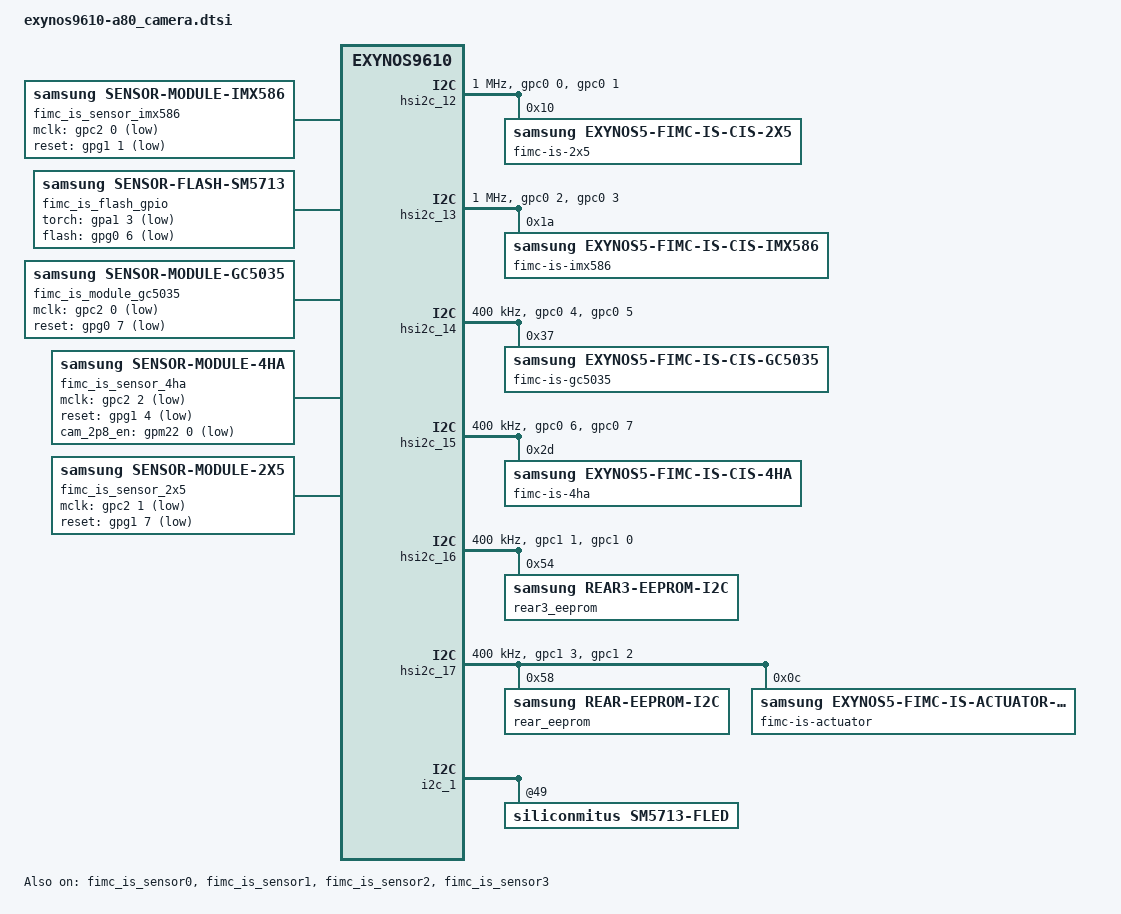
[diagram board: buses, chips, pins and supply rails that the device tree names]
/*
 * SAMSUNG EXYNOS9610 board camera device tree source
 *
 * Copyright (c) 2018 Samsung Electronics Co., Ltd.
 *		http://www.samsung.com
 *
 * This program is free software; you can redistribute it and/or modify
 * it under the terms of the GNU General Public License version 2 as
 * published by the Free Software Foundation.
 */

#include <dt-bindings/camera/fimc_is.h>

/ {
	fragment@camera {
		target-path = "/";
		__overlay__ {
			/* REAR CAMERA */
			fimc_is_sensor_imx586: fimc-fimc_is_sensor_imx586@1A {
				compatible = "samsung,sensor-module-imx586";

				pinctrl-names = "pin0", "pin1", "pin2", "release";
				pinctrl-0 = <&fimc_is_mclk0_out>;
				pinctrl-1 = <&fimc_is_mclk0_fn>;
				pinctrl-2 = < >;
				pinctrl-3 = <&fimc_is_mclk0_out>;

				id = <0>;                     /* fimc_is_sensor id */
				mclk_ch = <0>;
				sensor_i2c_ch = <1>;          /* SENSOR_CONTROL_I2C1 */
				sensor_i2c_addr = <0x1A>;     /* 1bit right shift : Read 0x34h, Write 0x35h */
				position = <0>;               /* Rear:0, Front:1, Rear_sub(Rear2):2, Rear_UW(Rear3): 4 */

				gpio_mclk = <&gpc2 0 0x1>;    /* RCAM1_RCAM3_MCLK */
				gpio_reset = <&gpg1 1 0x1>;   /* RCAM1_RST_N */

				status = "okay";

				af {
					product_name = <19>;     /* ACTUATOR_NAME_DW9808 */
					i2c_addr = <0x18>;
					i2c_ch = <5>;            /* SENSOR_CONTROL_I2C5 */
				};

				flash {
					product_name = <11>;     /* FLASH_GPIO : FLADRV_NAME_DRV_FLASH_GPIO */
				};
#if 0
				use_pdaf;                     /* when USE_AP_PDAF is enabled, use for pdaf sensor */

				internal_vc {
					vc_list = <2 VC_MIPISTAT 0 3 VC_PRIVATE 0>;
				};
#endif
			};

			fimc_is_flash_gpio: fimc-is-flash-gpio@0 {
				compatible = "samsung,sensor-flash-sm5713";
				id = <0>;
				status = "okay";

				torch-gpio = <&gpa1 3 0x1>;
				flash-gpio = <&gpg0 6 0x1>;
			};

			/* REAR Sub CAMERA */
			fimc_is_module_gc5035: fimc-is_sensor_gc5035@37 {
				compatible = "samsung,sensor-module-gc5035";

				pinctrl-names = "pin0", "pin1", "pin2", "release";
				pinctrl-0 = <>;
				pinctrl-1 = <&fimc_is_mclk0_out>;
				pinctrl-2 = <&fimc_is_mclk0_fn>;
				pinctrl-3 = <>;

				position = <2>;               /* Rear:0, Front:1, Rear_sub(Rear2):2, Rear_UW(Rear3): 4 */
				id = <2>;                     /* fimc_is_sensor id */
				mclk_ch = <0>;

				gpio_mclk = <&gpc2 0 0x1>;    /* RCAM1_RCAM2_MCLK */
				gpio_reset = <&gpg0 7 0x1>;   /* RCAM2_RST_N */
				status = "okay";
			};

			/* REAR Third CAMERA */
			fimc_is_sensor_4ha: fimc-is_sensor_4ha@6C {
				compatible = "samsung,sensor-module-4ha";

				pinctrl-names = "pin0", "pin1", "pin2", "release";
				pinctrl-0 = <>;
				pinctrl-1 = <&fimc_is_mclk2_out>;
				pinctrl-2 = <&fimc_is_mclk2_fn>;
				pinctrl-3 = <>;

				position = <4>;               /* Rear:0, Front:1, Rear_sub(Rear2):2, Rear_UW(Rear3): 4 */
				id = <3>;                     /* fimc_is_sensor id */
				mclk_ch = <2>;

				gpio_mclk = <&gpc2 2 0x1>;          /* RCAM3_MCLK */
				gpio_reset = <&gpg1 4 0x1>;         /* RCAM3_RST_N */
				gpio_cam_2p8_en = <&gpm22 0 0x1>;   /* RCAM3_AVDD_2P8 */
				status = "okay";
			};

			/* FRONT CAMERA */
			fimc_is_sensor_2x5: fimc-is_sensor_2x5@10 {
				compatible = "samsung,sensor-module-2x5";

				pinctrl-names = "pin0", "pin1", "pin2", "release";
				pinctrl-0 = <>;
				pinctrl-1 = <&fimc_is_mclk1_out>;
				pinctrl-2 = <&fimc_is_mclk1_fn>;
				pinctrl-3 = <>;

				position = <1>;               /* Rear:0, Front:1, Rear_sub(Rear2):2, Rear_UW(Rear3): 4 */
				id = <1>;                     /* fimc_is_sensor id */
				mclk_ch = <1>;
				sensor_i2c_ch = <1>;          /* SENSOR_CONTROL_I2C1 */

				gpio_mclk = <&gpc2 1 0x1>;
				gpio_reset = <&gpg1 7 0x1>;   /* FRONT_RST_N */

				status = "okay";
			};

		}; /* end of __overlay__ */
	}; /* end of fragment */
}; /* end of root */

/***** reference symbol node *****/

&fimc_is {
	vender {
		rear_sensor_id = <117>;    /* SENSOR_NAME_IMX586 */
		//front_sensor_id = <60>;    /* SENSOR_NAME_S5K2X5 */
		//rear2_sensor_id = <210>;   /* SENSOR_NAME_GC5035  */
		//rear3_sensor_id = <39>;    /* SENSOR_NAME_S5K4HA */
		need_i2c_config;
		skip_cal_loading;
		//use_module_check;
		//check_sensor_vendor;
		max_supported_camera = <1>; //<5>;
		supported_cameraId = <0>; //<0 1 20 50 52>;
		/* REAR, FRONT, WIDE, REAR_2ND(UW), REAR_3RD(SUB) */

		max_camera_num = <1>;
		camera_info0 {              /* 0 : rear - IMX586 */
			isp = <0>;             /* 0 : INT , 1 : EXT , 2 : SOC */
			cal_memory = <2>;      /* 0 : N , 1 : FROM , 2 : EEPROM , 3 : OTP  */
			read_version = <0>;    /* 0 : SYSFS , 1 : CAMON */
			core_voltage = <0>;    /* 0 : N , 1 : Y  */
			upgrade = <0>;         /* 0 : N , 1 : SYSFS , 2 : CAMON */
			companion = <0>;       /* 0 : N , 1 : Y  */
			ois = <0>;             /* 0 : N , 1 : Y  */
			valid = <1>;           /* 0 : INVALID, 1 : VALID */
			dual_open = <0>;       /* 0 : SINGLE_OPEN , 1 : DUAL_OPEN */
			position = <0>;        /* 0 : Rear, 1:Front, 2:Rear2, 3:Front2, 4:Rear3 */
		};
		camera_info1 {              /* 1 : front1 - S5K2X5 */
			isp = <0>;             /* 0 : INT , 1 : EXT , 2 : SOC */
			cal_memory = <2>;      /* 0 : N , 1 : FROM , 2 : EEPROM , 3 : OTP  */
			read_version = <0>;    /* 0 : SYSFS , 1 : CAMON */
			core_voltage = <0>;    /* 0 : N , 1 : Y  */
			upgrade = <0>;         /* 0 : N , 1 : SYSFS , 2 : CAMON */
			companion = <0>;       /* 0 : N , 1 : Y  */
			ois = <0>;             /* 0 : N , 1 : Y  */
			valid = <1>;           /* 0 : INVALID, 1 : VALID */
			dual_open = <0>;       /* 0 : SINGLE_OPEN , 1 : DUAL_OPEN */
			position = <1>;        /* 0 : Rear, 1:Front, 2:Rear2, 3:Front2, 4:Rear3 */
		};
		camera_info2 {              /* 2 : rear2 - GC5035 */
			isp = <0>;             /* 0 : INT , 1 : EXT , 2 : SOC */
			cal_memory = <2>;      /* 0 : N , 1 : FROM , 2 : EEPROM , 3 : OTP  */
			read_version = <0>;    /* 0 : SYSFS , 1 : CAMON */
			core_voltage = <0>;    /* 0 : N , 1 : Y  */
			upgrade = <0>;         /* 0 : N , 1 : SYSFS , 2 : CAMON */
			companion = <0>;       /* 0 : N , 1 : Y  */
			ois = <0>;             /* 0 : N , 1 : Y  */
			valid = <1>;           /* 0 : INVALID, 1 : VALID */
			dual_open = <1>;       /* 0 : SINGLE_OPEN , 1 : DUAL_OPEN */
			position = <2>;        /* 0 : Rear, 1:Front, 2:Rear2, 3:Front2, 4:Rear3 */
		};
		camera_info3 {              /* 2 : rear3 - S5K4HA */
			isp = <0>;             /* 0 : INT , 1 : EXT , 2 : SOC */
			cal_memory = <2>;      /* 0 : N , 1 : FROM , 2 : EEPROM , 3 : OTP  */
			read_version = <0>;    /* 0 : SYSFS , 1 : CAMON */
			core_voltage = <0>;    /* 0 : N , 1 : Y  */
			upgrade = <0>;         /* 0 : N , 1 : SYSFS , 2 : CAMON */
			companion = <0>;       /* 0 : N , 1 : Y  */
			ois = <0>;             /* 0 : N , 1 : Y  */
			valid = <1>;           /* 0 : INVALID, 1 : VALID */
			dual_open = <0>;       /* 0 : SINGLE_OPEN , 1 : DUAL_OPEN */
			position = <4>;        /* 0 : Rear, 1:Front, 2:Rear2, 3:Front2, 4:Rear3 */
		};
	};

	fimc_is_dvfs {
		#define DVFS_INT_CAM_L0 690000
		#define DVFS_INT_CAM_L1 680000
		#define DVFS_INT_CAM_L2 670000
		#define DVFS_INT_CAM_L3 660000
		#define DVFS_INT_CAM_L4 650000

		#define DVFS_INT_L0 667000
		#define DVFS_INT_L1 533000
		#define DVFS_INT_L2 400000
		#define DVFS_INT_L3 200000
		#define DVFS_INT_L4 100000

		#define DVFS_CAM_L0 690000
		#define DVFS_CAM_L1 680000
		#define DVFS_CAM_L2 670000
		#define DVFS_CAM_L3 660000
		#define DVFS_CAM_L4 650000
		#define DVFS_CAM_L5 640000

		#define DVFS_MIF_L0 2093000
		#define DVFS_MIF_L1 2002000
		#define DVFS_MIF_L2 1794000
		#define DVFS_MIF_L3 1539000
		#define DVFS_MIF_L4 1352000
		#define DVFS_MIF_L5 1014000
		#define DVFS_MIF_L6 845000
		#define DVFS_MIF_L7 676000
		#define DVFS_MIF_L8 546000
		#define DVFS_MIF_L9 419000

		table0 {
			desc = "dvfs table v0.0 for 16M/8M";

			default_int_cam = <DVFS_INT_CAM_L0>;
			default_cam = <DVFS_CAM_L0>;
			default_mif = <DVFS_MIF_L0>;
			default_int = <DVFS_INT_L4>;
			default_hpg = <1>;

			front_preview_int_cam = <DVFS_INT_CAM_L3>;
			front_preview_cam = <DVFS_CAM_L1>;
			front_preview_mif = <DVFS_MIF_L4>;
			front_preview_int = <DVFS_INT_L4>;
			front_preview_hpg = <1>;

			front_preview_full_int_cam = <DVFS_INT_CAM_L1>;
			front_preview_full_cam = <DVFS_CAM_L1>;
			front_preview_full_mif = <DVFS_MIF_L2>;
			front_preview_full_int = <DVFS_INT_L4>;
			front_preview_full_hpg = <1>;

			front_capture_int_cam = <DVFS_INT_CAM_L1>;
			front_capture_cam = <DVFS_CAM_L1>;
			front_capture_mif = <DVFS_MIF_L2>;
			front_capture_int = <DVFS_INT_L4>;
			front_capture_hpg = <1>;

			front_video_int_cam = <DVFS_INT_CAM_L3>;
			front_video_cam = <DVFS_CAM_L1>;
			front_video_mif = <DVFS_MIF_L4>;
			front_video_int = <DVFS_INT_L4>;
			front_video_hpg = <1>;

			front_video_capture_int_cam = <DVFS_INT_CAM_L2>;
			front_video_capture_cam = <DVFS_CAM_L1>;
			front_video_capture_mif = <DVFS_MIF_L2>;
			front_video_capture_int = <DVFS_INT_L4>;
			front_video_capture_hpg = <1>;

			front_vt1_int_cam = <DVFS_INT_CAM_L3>;
			front_vt1_cam = <DVFS_CAM_L1>;
			front_vt1_mif = <DVFS_MIF_L5>;
			front_vt1_int = <DVFS_INT_L4>;
			front_vt1_hpg = <1>;

			front_vt2_int_cam = <DVFS_INT_CAM_L3>;
			front_vt2_cam = <DVFS_CAM_L1>;
			front_vt2_mif = <DVFS_MIF_L5>;
			front_vt2_int = <DVFS_INT_L4>;
			front_vt2_hpg = <1>;

			front_vt4_int_cam = <DVFS_INT_CAM_L3>;
			front_vt4_cam = <DVFS_CAM_L1>;
			front_vt4_mif = <DVFS_MIF_L5>;
			front_vt4_int = <DVFS_INT_L4>;
			front_vt4_hpg = <1>;

			rear2_preview_fhd_int_cam = <DVFS_INT_CAM_L3>;
			rear2_preview_fhd_cam = <DVFS_CAM_L4>;
			rear2_preview_fhd_mif = <DVFS_MIF_L4>;
			rear2_preview_fhd_int = <DVFS_INT_L4>;
			rear2_preview_fhd_hpg = <1>;

			rear2_capture_int_cam = <DVFS_INT_CAM_L3>;
			rear2_capture_cam = <DVFS_CAM_L3>;
			rear2_capture_mif = <DVFS_MIF_L3>;
			rear2_capture_int = <DVFS_INT_L4>;
			rear2_capture_hpg = <1>;

			rear3_preview_int_cam = <DVFS_INT_CAM_L3>;
			rear3_preview_cam = <DVFS_CAM_L3>;
			rear3_preview_mif = <DVFS_MIF_L4>;
			rear3_preview_int = <DVFS_INT_L4>;
			rear3_preview_hpg = <1>;

			rear3_capture_int_cam = <DVFS_INT_CAM_L3>;
			rear3_capture_cam = <DVFS_CAM_L3>;
			rear3_capture_mif = <DVFS_MIF_L3>;
			rear3_capture_int = <DVFS_INT_L4>;
			rear3_capture_hpg = <1>;

			rear3_video_int_cam = <DVFS_INT_CAM_L3>;
			rear3_video_cam = <DVFS_CAM_L3>;
			rear3_video_mif = <DVFS_MIF_L4>;
			rear3_video_int = <DVFS_INT_L4>;
			rear3_video_hpg = <1>;

			rear3_video_capture_int_cam = <DVFS_INT_CAM_L3>;
			rear3_video_capture_cam = <DVFS_CAM_L3>;
			rear3_video_capture_mif = <DVFS_MIF_L3>;
			rear3_video_capture_int = <DVFS_INT_L4>;
			rear3_video_capture_hpg = <1>;

			rear_preview_fhd_int_cam = <DVFS_INT_CAM_L3>;
			rear_preview_fhd_cam = <DVFS_CAM_L1>;
			rear_preview_fhd_mif = <DVFS_MIF_L4>;
			rear_preview_fhd_int = <DVFS_INT_L4>;
			rear_preview_fhd_hpg = <1>;

			rear_preview_hd_int_cam = <DVFS_INT_CAM_L3>;
			rear_preview_hd_cam = <DVFS_CAM_L1>;
			rear_preview_hd_mif = <DVFS_MIF_L4>;
			rear_preview_hd_int = <DVFS_INT_L4>;
			rear_preview_hd_hpg = <1>;

			rear_preview_uhd_int_cam = <DVFS_INT_CAM_L2>;
			rear_preview_uhd_cam = <DVFS_CAM_L1>;
			rear_preview_uhd_mif = <DVFS_MIF_L3>;
			rear_preview_uhd_int = <DVFS_INT_L4>;
			rear_preview_uhd_hpg = <1>;

			rear_preview_full_int_cam = <DVFS_INT_CAM_L1>;
			rear_preview_full_cam = <DVFS_CAM_L1>;
			rear_preview_full_mif = <DVFS_MIF_L2>;
			rear_preview_full_int = <DVFS_INT_L4>;
			rear_preview_full_hpg = <1>;

			rear_capture_int_cam = <DVFS_INT_CAM_L1>;
			rear_capture_cam = <DVFS_CAM_L1>;
			rear_capture_mif = <DVFS_MIF_L2>;
			rear_capture_int = <DVFS_INT_L4>;
			rear_capture_hpg = <1>;

			rear_video_fhd_int_cam = <DVFS_INT_CAM_L3>;
			rear_video_fhd_cam = <DVFS_CAM_L1>;
			rear_video_fhd_mif = <DVFS_MIF_L4>;
			rear_video_fhd_int = <DVFS_INT_L4>;
			rear_video_fhd_hpg = <1>;

			rear_video_hd_int_cam = <DVFS_INT_CAM_L3>;
			rear_video_hd_cam = <DVFS_CAM_L1>;
			rear_video_hd_mif = <DVFS_MIF_L4>;
			rear_video_hd_int = <DVFS_INT_L4>;
			rear_video_hd_hpg = <1>;

			rear_video_uhd_int_cam = <DVFS_INT_CAM_L2>;
			rear_video_uhd_cam = <DVFS_CAM_L1>;
			rear_video_uhd_mif = <DVFS_MIF_L3>;
			rear_video_uhd_int = <DVFS_INT_L4>;
			rear_video_uhd_hpg = <1>;

			rear_video_fhd_capture_int_cam = <DVFS_INT_CAM_L2>;
			rear_video_fhd_capture_cam = <DVFS_CAM_L1>;
			rear_video_fhd_capture_mif = <DVFS_MIF_L3>;
			rear_video_fhd_capture_int = <DVFS_INT_L4>;
			rear_video_fhd_capture_hpg = <1>;

			rear_video_hd_capture_int_cam = <DVFS_INT_CAM_L2>;
			rear_video_hd_capture_cam = <DVFS_CAM_L1>;
			rear_video_hd_capture_mif = <DVFS_MIF_L3>;
			rear_video_hd_capture_int = <DVFS_INT_L4>;
			rear_video_hd_capture_hpg = <1>;

			rear_video_uhd_capture_int_cam = <DVFS_INT_CAM_L1>;
			rear_video_uhd_capture_cam = <DVFS_CAM_L1>;
			rear_video_uhd_capture_mif = <DVFS_MIF_L2>;
			rear_video_uhd_capture_int = <DVFS_INT_L4>;
			rear_video_uhd_capture_hpg = <1>;

			dual_preview_int_cam = <DVFS_INT_CAM_L3>;
			dual_preview_cam = <DVFS_CAM_L1>;
			dual_preview_mif = <DVFS_MIF_L4>;
			dual_preview_int = <DVFS_INT_L4>;
			dual_preview_hpg = <1>;

			dual_capture_int_cam = <DVFS_INT_CAM_L1>;
			dual_capture_cam = <DVFS_CAM_L1>;
			dual_capture_mif = <DVFS_MIF_L2>;
			dual_capture_int = <DVFS_INT_L4>;
			dual_capture_hpg = <1>;

			dual_video_fhd_int_cam = <DVFS_INT_CAM_L3>;
			dual_video_fhd_cam = <DVFS_CAM_L1>;
			dual_video_fhd_mif = <DVFS_MIF_L4>;
			dual_video_fhd_int = <DVFS_INT_L4>;
			dual_video_fhd_hpg = <1>;

			dual_video_fhd_capture_int_cam = <DVFS_INT_CAM_L2>;
			dual_video_fhd_capture_cam = <DVFS_CAM_L1>;
			dual_video_fhd_capture_mif = <DVFS_MIF_L3>;
			dual_video_fhd_capture_int = <DVFS_INT_L4>;
			dual_video_fhd_capture_hpg = <1>;

			dual_video_uhd_int_cam = <DVFS_INT_CAM_L2>;
			dual_video_uhd_cam = <DVFS_CAM_L1>;
			dual_video_uhd_mif = <DVFS_MIF_L3>;
			dual_video_uhd_int = <DVFS_INT_L4>;
			dual_video_uhd_hpg = <1>;

			dual_video_uhd_capture_int_cam = <DVFS_INT_CAM_L1>;
			dual_video_uhd_capture_cam = <DVFS_CAM_L1>;
			dual_video_uhd_capture_mif = <DVFS_MIF_L2>;
			dual_video_uhd_capture_int = <DVFS_INT_L4>;
			dual_video_uhd_capture_hpg = <1>;

			dual_sync_preview_int_cam = <DVFS_INT_CAM_L2>;
			dual_sync_preview_cam = <DVFS_CAM_L1>;
			dual_sync_preview_mif = <DVFS_MIF_L3>;
			dual_sync_preview_int = <DVFS_INT_L4>;
			dual_sync_preview_hpg = <1>;

			dual_sync_capture_int_cam = <DVFS_INT_CAM_L1>;
			dual_sync_capture_cam = <DVFS_CAM_L1>;
			dual_sync_capture_mif = <DVFS_MIF_L1>;
			dual_sync_capture_int = <DVFS_INT_L4>;
			dual_sync_capture_hpg = <1>;

			dual_sync_preview_whd_int_cam = <DVFS_INT_CAM_L1>;
			dual_sync_preview_whd_cam = <DVFS_CAM_L1>;
			dual_sync_preview_whd_mif = <DVFS_MIF_L3>;
			dual_sync_preview_whd_int = <DVFS_INT_L4>;
			dual_sync_preview_whd_hpg = <1>;

			dual_sync_whd_capture_int_cam = <DVFS_INT_CAM_L1>;
			dual_sync_whd_capture_cam = <DVFS_CAM_L1>;
			dual_sync_whd_capture_mif = <DVFS_MIF_L1>;
			dual_sync_whd_capture_int = <DVFS_INT_L4>;
			dual_sync_whd_capture_hpg = <1>;

			dual_sync_video_fhd_int_cam = <DVFS_INT_CAM_L2>;
			dual_sync_video_fhd_cam = <DVFS_CAM_L1>;
			dual_sync_video_fhd_mif = <DVFS_MIF_L3>;
			dual_sync_video_fhd_int = <DVFS_INT_L4>;
			dual_sync_video_fhd_hpg = <1>;

			dual_sync_video_fhd_capture_int_cam = <DVFS_INT_CAM_L2>;
			dual_sync_video_fhd_capture_cam = <DVFS_CAM_L1>;
			dual_sync_video_fhd_capture_mif = <DVFS_MIF_L1>;
			dual_sync_video_fhd_capture_int = <DVFS_INT_L4>;
			dual_sync_video_fhd_capture_hpg = <1>;

			dual_sync_video_uhd_int_cam = <DVFS_INT_CAM_L1>;
			dual_sync_video_uhd_cam = <DVFS_CAM_L1>;
			dual_sync_video_uhd_mif = <DVFS_MIF_L1>;
			dual_sync_video_uhd_int = <DVFS_INT_L4>;
			dual_sync_video_uhd_hpg = <1>;

			dual_sync_video_uhd_capture_int_cam = <DVFS_INT_CAM_L1>;
			dual_sync_video_uhd_capture_cam = <DVFS_CAM_L1>;
			dual_sync_video_uhd_capture_mif = <DVFS_MIF_L1>;
			dual_sync_video_uhd_capture_int = <DVFS_INT_L4>;
			dual_sync_video_uhd_capture_hpg = <1>;

			preview_high_speed_fps_int_cam = <DVFS_INT_CAM_L1>;
			preview_high_speed_fps_cam = <DVFS_CAM_L1>;
			preview_high_speed_fps_mif = <DVFS_MIF_L0>;
			preview_high_speed_fps_int = <DVFS_INT_L4>;
			preview_high_speed_fps_hpg = <1>;

			video_high_speed_60fps_int_cam = <DVFS_INT_CAM_L1>;
			video_high_speed_60fps_cam = <DVFS_CAM_L1>;
			video_high_speed_60fps_mif = <DVFS_MIF_L0>;
			video_high_speed_60fps_int = <DVFS_INT_L4>;
			video_high_speed_60fps_hpg = <1>;

			video_high_speed_120fps_int_cam = <DVFS_INT_CAM_L1>;
			video_high_speed_120fps_cam = <DVFS_CAM_L1>;
			video_high_speed_120fps_mif = <DVFS_MIF_L0>;
			video_high_speed_120fps_int = <DVFS_INT_L4>;
			video_high_speed_120fps_hpg = <1>;

			video_high_speed_240fps_int_cam = <DVFS_INT_CAM_L1>;
			video_high_speed_240fps_cam = <DVFS_CAM_L1>;
			video_high_speed_240fps_mif = <DVFS_MIF_L0>;
			video_high_speed_240fps_int = <DVFS_INT_L4>;
			video_high_speed_240fps_hpg = <1>;

			video_high_speed_480fps_int_cam = <DVFS_INT_CAM_L0>;
			video_high_speed_480fps_cam = <DVFS_CAM_L0>;
			video_high_speed_480fps_mif = <DVFS_MIF_L0>;
			video_high_speed_480fps_int = <DVFS_INT_L0>;
			video_high_speed_480fps_hpg = <1>;

			video_high_speed_60fps_capture_int_cam = <DVFS_INT_CAM_L0>;
			video_high_speed_60fps_capture_cam = <DVFS_CAM_L0>;
			video_high_speed_60fps_capture_mif = <DVFS_MIF_L0>;
			video_high_speed_60fps_capture_int = <DVFS_INT_L4>;
			video_high_speed_60fps_capture_hpg = <1>;

			ext_front_int_cam = <DVFS_INT_CAM_L0>;
			ext_front_cam = <DVFS_CAM_L0>;
			ext_front_mif = <DVFS_MIF_L0>;
			ext_front_int = <DVFS_INT_L4>;
			ext_front_hpg = <1>;

			ext_secure_int_cam = <DVFS_INT_CAM_L0>;
			ext_secure_cam = <DVFS_CAM_L0>;
			ext_secure_mif = <DVFS_MIF_L0>;
			ext_secure_int = <DVFS_INT_L4>;
			ext_secure_hpg = <1>;

			max_int_cam = <DVFS_INT_CAM_L0>;
			max_cam = <DVFS_CAM_L0>;
			max_mif = <DVFS_MIF_L0>;
			max_int = <DVFS_INT_L0>;
			max_hpg = <1>;
		};
	};
};

/* I2C_CAM0 */ /* SENSOR_CONTROL_I2C0 */
&hsi2c_12 {
	#address-cells = <1>;
	#size-cells = <0>;
	gpios = <&gpc0 0 0 &gpc0 1 0>;    /* SDA- SCL */
	status = "okay";
	clock-frequency = <1000000>;
	samsung,reset-before-trans;
	samsung,fast-plus-mode;	/* 1Mhz */

	pinctrl-names = "default","on_i2c","off_i2c";
	pinctrl-0 = <&hsi2c12_bus>;
	pinctrl-1 = <&hsi2c12_bus>;
	pinctrl-2 = <&hsi2c12_bus>;

	fimc-is-2x5@10 {
		compatible = "samsung,exynos5-fimc-is-cis-2x5";
		reg = <0x10>;                /* 1 bit right shift */
		id = <1>;                    /* matching fimc_is_sensor id */
		sensor_f_number = <200>;     /* f number 2.0 */
		setfile = "setA";
	};
};

/* I2C_CAM1 */ /* SENSOR_CONTROL_I2C1 */
&hsi2c_13 {
	#address-cells = <1>;
	#size-cells = <0>;
	gpios = <&gpc0 2 0 &gpc0 3 0>;    /* SDA- SCL */
	status = "okay";
	clock-frequency = <1000000>;
	samsung,reset-before-trans;
	samsung,fast-plus-mode;           /* 1Mhz */

	pinctrl-names = "default","on_i2c","off_i2c";
	pinctrl-0 = <&hsi2c13_bus>;
	pinctrl-1 = <&hsi2c13_bus>;
	pinctrl-2 = <&hsi2c13_bus>;

	fimc-is-imx586@1A {
		compatible = "samsung,exynos5-fimc-is-cis-imx586";
		reg = <0x1A>;                /* 1 bit right shift */
		id = <0>;                    /* matching fimc_is_sensor id */
		sensor_f_number = <170>;     /* f number 1.7 */
		setfile = "setB";            /* first Setfile of MCD is 'setB' */
	};
};

/* I2C_CAM2 */ /* SENSOR_CONTROL_I2C2 */
&hsi2c_14 {
	#address-cells = <1>;
	#size-cells = <0>;
	gpios = <&gpc0 4 0 &gpc0 5 0>;    /* SDA- SCL */
	status = "okay";
	clock-frequency = <400000>;
	samsung,reset-before-trans;

	pinctrl-names = "default","on_i2c","off_i2c";
	pinctrl-0 = <&hsi2c14_bus>;
	pinctrl-1 = <&hsi2c14_bus>;
	pinctrl-2 = <&hsi2c14_bus>;

	fimc-is-gc5035@37 {
		compatible = "samsung,exynos5-fimc-is-cis-gc5035";
		reg = <0x37>;                /* 1 bit right shift */
		id = <2>;                    /* matching fimc_is_sensor id */
		sensor_f_number = <220>;     /* f number 2.2 */
		setfile = "setB";
	};
};

/* I2C_CAM3 */ /* SENSOR_CONTROL_I2C3 */
&hsi2c_15 {
	#address-cells = <1>;
	#size-cells = <0>;
	gpios = <&gpc0 6 0 &gpc0 7 0>;     /* SDA- SCL */
	status = "okay";
	clock-frequency = <400000>;
	samsung,reset-before-trans;

	pinctrl-names = "default","on_i2c","off_i2c";
	pinctrl-0 = <&hsi2c15_bus>;
	pinctrl-1 = <&hsi2c15_bus>;
	pinctrl-2 = <&hsi2c15_bus>;

	fimc-is-4ha@2D {
		compatible = "samsung,exynos5-fimc-is-cis-4ha";
		reg = <0x2D>;                /* 1 bit right shift */
		id = <3>;                    /* matching fimc_is_sensor id */
		sensor_f_number = <220>;     /* f number 2.2 */
		setfile = "setB";
	};
};

/* USI_PERI_USI_0 */
&hsi2c_16 {
	#address-cells = <1>;
	#size-cells = <0>;
	gpios = <&gpc1 1 0 &gpc1 0 0>;    /* SDA - SCL */
	status = "okay";
	clock-frequency = <400000>;
	samsung,reset-before-trans;

	pinctrl-names = "default","on_i2c","off_i2c";
	pinctrl-0 = <&hsi2c16_bus>;
	pinctrl-1 = <&hsi2c16_bus>;
	pinctrl-2 = <&hsi2c16_bus>;

	rear3_eeprom@A8 {
		compatible = "samsung,rear3-eeprom-i2c";
		reg = <0x54>;                /* 7bit-addr */
	};
};

/* USI_PERI_USI_0_I2C */
&hsi2c_17 {
	#address-cells = <1>;
	#size-cells = <0>;
	gpios = <&gpc1 3 0 &gpc1 2 0>;    /* SDA - SCL */
	status = "okay";
	clock-frequency = <400000>;
	samsung,reset-before-trans;

	pinctrl-names = "default","on_i2c","off_i2c";
	pinctrl-0 = <&hsi2c17_bus>;
	pinctrl-1 = <&hsi2c17_bus>;
	pinctrl-2 = <&hsi2c17_bus>;

	rear_eeprom@B0 {
		compatible = "samsung,rear-eeprom-i2c";
		reg = <0x58>;                     /* 7bit-addr */

		use_common_rom_position = <2>;    /* SENSOR_POSITION_REAR2 */
	};

	fimc-is-actuator@18 {
		compatible = "samsung,exynos5-fimc-is-actuator-dw9808";
		reg = <0x0C>;
		id = <0>;                    /* matching sensor id */
		place = <0>;
	};

#if 0
	front_eeprom@51 {
		compatible = "samsung,front-eeprom-i2c";
		reg = <0x51>;
	};
#endif
};

&i2c_1 {
	sm5713-fled@49 {
		compatible = "siliconmitus,sm5713-fled";
		sm5713-fled@0 {
			id=<0>;
			status = "okay";
			flash-en-gpio = <&gpg0 6 0>;
			torch-en-gpio = <&gpa1 3 0>;
			flash-brightness = <0xF>; /*0x0(600mA) ~ 0xF(1350mA) : 50mA Step */
			preflash-brightness = <0x4>;
			torch-brightness = <0x4>; /*0x0(50mA) ~ 0x7(225mA) : 25mA Step */
			timeout = <0xff>;
		};
	};
};

&fimc_is_sensor0 {
	scenario = <SENSOR_SCENARIO_NORMAL>;	/* Normal, Vision, OIS etc */
	id = <0>;
	csi_ch = <0>;
	dma_ch = <0 0 0 0 0 0 2 0>;
	vc_ch = <0 1 2 3 0 1 0 3>;
	flite_ch = <FLITE_ID_NOTHING>;
	is_bns = <0>;
	csi_mux = <2>;	/* CSIS_DPHY[2:0] = [0 1 0] */
	multi_ch = <2>;
//	use_ssvc2_internal;
//	use_ssvc3_internal;
	status = "okay";
};

&fimc_is_sensor1 {
	phys = <&mipi_phy_csis_m2s4s4s2 1>;

	scenario = <SENSOR_SCENARIO_NORMAL>;	/* Normal, Vision, OIS etc */
	id = <2>;
	csi_ch = <1>;
	dma_ch = <1 1 1 1 2 2 2 2>;
	vc_ch = <0 1 2 3 1 2 1 3>;
	flite_ch = <FLITE_ID_NOTHING>;
	is_bns = <0>;
	csi_mux = <2>;	/* CSIS_DPHY[2:0] = [0 1 0] */
	multi_ch = <2>;
	status = "okay";
};

&fimc_is_sensor2 {
	scenario = <SENSOR_SCENARIO_NORMAL>;	/* Normal, Vision, OIS etc */
	id = <1>;
	csi_ch = <2>;
	dma_ch = <3 2 2 2>;
	vc_ch = <1 1 2 3>;
	flite_ch = <FLITE_ID_NOTHING>;
	is_bns = <0>;
	csi_mux = <2>;	/* CSIS_DPHY[2:0] = [0 1 0] */
	multi_ch = <0>;
	status = "okay";
};

&fimc_is_sensor3 {
	reg = <0x0 0x14410700 0x100>, /* PHY: TOP_M2S4S4S2 */
		<0x0 0x14410000 0x700>; /* MIPI-CSI0 */
	reg-names = "phy", "csi";
	interrupts = <0 326 0>, /* MIPI-CSI1 */
		<0 332 0>, /* VC0 DMA1 */
		<0 332 0>, /* VC1 DMA1 */
		<0 332 0>, /* VC2 DMA1 */
		<0 332 0>; /* VC3 DMA1 */
	interrupt-names = "csi",
		"mode0_VC0", "mode0_VC1","mode0_VC2","mode0_VC3";
	phys = <&mipi_phy_csis_m2s4s4s2 0>;

	scenario = <SENSOR_SCENARIO_NORMAL>;	/* Normal, Vision, OIS etc */
	id = <3>;
	csi_ch = <1>;
	dma_ch = <1 1 1 1>;
	vc_ch = <0 1 2 3>;
	flite_ch = <FLITE_ID_NOTHING>;
	is_bns = <0>;
	csi_mux = <0>;	/* CSIS_DPHY[2:0] = [0 0 0] */
	multi_ch = <2>;
	status = "okay";

	/* without PAF HW */
	sensor3_ch_mode0: sensor3-ch-mode0 {
		reg = <0x14460000 0x100>, /* VC0 DMA1 */
			<0x14460400 0x100>, /* VC0 DMA1 COMMON */
			<0x14460100 0x100>, /* VC1 DMA1 */
			<0x14460400 0x100>, /* VC1 DMA1 COMMON */
			<0x14460200 0x100>, /* VC2 DMA1 */
			<0x14460400 0x100>, /* VC2 DMA1 COMMON */
			<0x14460300 0x100>, /* VC3 DMA1 */
			<0x14460400 0x100>; /* VC3 DMA1 COMMON */
	};
};
